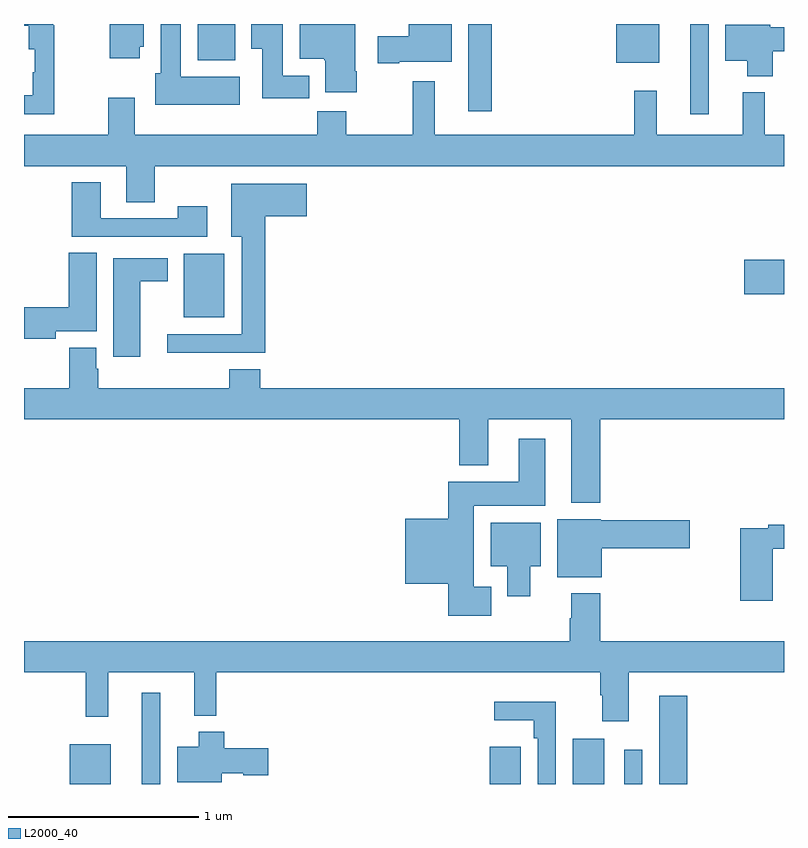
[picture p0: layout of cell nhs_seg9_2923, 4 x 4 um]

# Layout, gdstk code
import gdstk
lib = gdstk.Library(unit=1e-6, precision=1e-09)
def R(c, l, rs):  # rectangles x0, y0, x1, y1
    for r in rs: c.add(gdstk.rectangle(r[:2], r[2:], *l))
def P(c, l, *ps):  # polygons
    for p in ps: c.add(gdstk.Polygon(p, *l))
L2000_40 = (2000, 40)

nhs_seg9_2923 = lib.new_cell('nhs_seg9_2923')
R(nhs_seg9_2923, L2000_40, [(279.242,1194.5,279.457,1194.709), (279.62,1194.5,279.717,1194.979), (281.45,1194.5,281.614,1194.697), (281.888,1194.5,282.055,1194.739), (282.159,1194.5,282.255,1194.679), (282.344,1194.5,282.491,1194.964), (279.842,1196.957,280.054,1197.292), (282.792,1197.077,283,1197.26), (282.506,1198.026,282.603,1198.5), (281.339,1198.041,281.461,1198.5), (282.116,1198.295,282.343,1198.5), (279.914,1198.31,280.111,1198.5)])
P(nhs_seg9_2923, L2000_40, [(280.501,1198.228),(280.363,1198.228),(280.363,1198.5),(280.196,1198.5),(280.196,1198.369),(280.253,1198.369),(280.253,1198.11),(280.501,1198.11)],
  [(280.135,1198.222),(279.826,1198.222),(279.826,1198.5),(279.719,1198.5),(279.719,1198.242),(279.692,1198.242),(279.692,1198.076),(280.135,1198.076)],
  [(280.975,1198.301),(281.251,1198.301),(281.251,1198.5),(281.024,1198.5),(281.024,1198.436),(280.863,1198.436),(280.863,1198.294),(280.975,1198.294)],
  [(280.752,1198.252),(280.744,1198.252),(280.744,1198.5),(280.451,1198.5),(280.451,1198.316),(280.58,1198.316),(280.58,1198.31),(280.586,1198.31),(280.586,1198.14),(280.752,1198.14)],
  [(279.158,1198.494),(279.154,1198.494),(279.154,1198.5),(279,1198.5),(279,1198.49),(279.026,1198.49),(279.026,1198.367),(279.056,1198.367),(279.056,1198.245),(279.045,1198.245),(279.045,1198.125),(279,1198.125),(279,1198.026),(279.158,1198.026)],
  [(279.61,1198.38),(279.631,1198.38),(279.631,1198.5),(279.452,1198.5),(279.452,1198.32),(279.61,1198.32)],
  [(282.941,1198.356),(283,1198.356),(283,1198.484),(282.928,1198.484),(282.928,1198.495),(282.692,1198.495),(282.692,1198.307),(282.806,1198.307),(282.806,1198.226),(282.941,1198.226)],
  [(279.687,1197.752),(283,1197.752),(283,1197.916),(282.899,1197.916),(282.899,1198.141),(282.782,1198.141),(282.782,1197.916),(282.329,1197.916),(282.329,1198.15),(282.211,1198.15),(282.211,1197.916),(281.161,1197.916),(281.161,1198.198),(281.047,1198.198),(281.047,1197.916),(280.695,1197.916),(280.695,1198.04),(280.543,1198.04),(280.543,1197.916),(279.583,1197.916),(279.583,1198.111),(279.443,1198.111),(279.443,1197.916),(279,1197.916),(279,1197.752),(279.539,1197.752),(279.539,1197.562),(279.687,1197.562)],
  [(279.964,1197.541),(279.808,1197.541),(279.808,1197.477),(279.403,1197.477),(279.403,1197.667),(279.251,1197.667),(279.251,1197.381),(279.964,1197.381)],
  [(280.271,1197.488),(280.489,1197.488),(280.489,1197.658),(280.091,1197.658),(280.091,1197.38),(280.145,1197.38),(280.145,1196.868),(279.753,1196.868),(279.753,1196.771),(280.271,1196.771)],
  [(279.166,1196.882),(279.382,1196.882),(279.382,1197.296),(279.236,1197.296),(279.236,1197.008),(279,1197.008),(279,1196.843),(279.166,1196.843)],
  [(279.613,1197.146),(279.757,1197.146),(279.757,1197.268),(279.47,1197.268),(279.47,1196.748),(279.613,1196.748)],
  [(280.244,1196.683),(280.079,1196.683),(280.079,1196.584),(279.392,1196.584),(279.392,1196.685),(279.379,1196.685),(279.379,1196.797),(279.239,1196.797),(279.239,1196.584),(279,1196.584),(279,1196.42),(281.291,1196.42),(281.291,1196.177),(281.443,1196.177),(281.443,1196.42),(281.879,1196.42),(281.879,1195.979),(282.032,1195.979),(282.032,1196.42),(283,1196.42),(283,1196.584),(280.244,1196.584)],
  [(281.458,1195.537),(281.368,1195.537),(281.368,1195.964),(281.743,1195.964),(281.743,1196.317),(281.603,1196.317),(281.603,1196.092),(281.234,1196.092),(281.234,1195.897),(281.006,1195.897),(281.006,1195.553),(281.234,1195.553),(281.234,1195.385),(281.458,1195.385)],
  [(282.04,1195.742),(282.505,1195.742),(282.505,1195.889),(282.036,1195.889),(282.036,1195.894),(281.807,1195.894),(281.807,1195.589),(282.04,1195.589)],
  [(281.665,1195.646),(281.719,1195.646),(281.719,1195.876),(281.456,1195.876),(281.456,1195.646),(281.543,1195.646),(281.543,1195.488),(281.665,1195.488)],
  [(282.94,1195.737),(283,1195.737),(283,1195.865),(282.916,1195.865),(282.916,1195.845),(282.77,1195.845),(282.77,1195.464),(282.94,1195.464)],
  [(282.184,1195.088),(283,1195.088),(283,1195.252),(282.032,1195.252),(282.032,1195.504),(281.879,1195.504),(281.879,1195.373),(281.872,1195.373),(281.872,1195.252),(279,1195.252),(279,1195.088),(279.325,1195.088),(279.325,1194.855),(279.443,1194.855),(279.443,1195.088),(279.896,1195.088),(279.896,1194.86),(280.013,1194.86),(280.013,1195.088),(282.032,1195.088),(282.032,1194.968),(282.044,1194.968),(282.044,1194.831),(282.184,1194.831)],
  [(281.799,1194.934),(281.475,1194.934),(281.475,1194.836),(281.683,1194.836),(281.683,1194.74),(281.703,1194.74),(281.703,1194.5),(281.799,1194.5)],
  [(280.042,1194.557),(280.155,1194.557),(280.155,1194.545),(280.285,1194.545),(280.285,1194.687),(280.055,1194.687),(280.055,1194.775),(279.92,1194.775),(279.92,1194.697),(279.806,1194.697),(279.806,1194.509),(280.042,1194.509)])

lib.write_gds('nhs_seg9_2923.gds')
